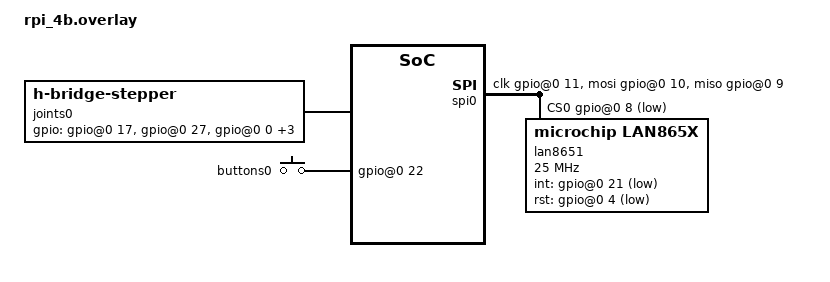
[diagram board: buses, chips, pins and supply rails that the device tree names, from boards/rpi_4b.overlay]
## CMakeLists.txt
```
# SPDX-License-Identifier: Apache-2.0

cmake_minimum_required(VERSION 3.20.0)

find_package(Zephyr REQUIRED HINTS $ENV{ZEPHYR_BASE})
project(znet_10bt1s)

target_sources(app PRIVATE src/main.c)
```

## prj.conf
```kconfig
CONFIG_MAX_XLAT_TABLES=16

# Core SPI
CONFIG_SPI=y
CONFIG_SPI_DW=y
CONFIG_SPI_DW_USE_IRQ=n
CONFIG_SPI_DW_POLLING_TIMEOUT_US=50000
CONFIG_SPI_LOG_LEVEL_ERR=y

# =========================
# Pin Controller
# =========================
CONFIG_PINCTRL=y
CONFIG_PINCTRL_RP1=y
# Logging for RP1 pinctrl
CONFIG_PINCTRL_RP1_LOG_LEVEL_DBG=y

# Ensure GPIO is enabled (required for bitbang)
CONFIG_GPIO=y

# Network stack
CONFIG_NET_ARP=y
CONFIG_NET_IPV4=y
CONFIG_NET_SOCKETS=y
CONFIG_NET_CONFIG_SETTINGS=y
CONFIG_NET_CONFIG_NEED_IPV4=y

CONFIG_NET_IF_UNICAST_IPV4_ADDR_COUNT=2
CONFIG_NET_IF_MCAST_IPV4_ADDR_COUNT=1
CONFIG_NET_CONFIG_MY_IPV4_ADDR="10.1.1.5"
CONFIG_NET_CONFIG_MY_IPV4_NETMASK="255.255.255.0"
CONFIG_NET_CONFIG_MY_IPV4_GW="0.0.0.0"
CONFIG_NET_CONFIG_INIT_TIMEOUT=5

CONFIG_NET_PKT_TX_COUNT=32
CONFIG_NET_PKT_RX_COUNT=32

CONFIG_NET_BUF_TX_COUNT=128
CONFIG_NET_BUF_RX_COUNT=128

CONFIG_NET_BUF_DATA_SIZE=640

CONFIG_NETWORKING=y
CONFIG_NET_L2_ETHERNET=y
CONFIG_NET_IPV4=y
CONFIG_NET_IPV6=n
CONFIG_NET_TCP=n
CONFIG_NET_UDP=y
CONFIG_NET_MGMT=y
CONFIG_NET_MGMT_EVENT=y
CONFIG_NET_MGMT_EVENT_INFO=y
CONFIG_ETHERNET_LOG_LEVEL_DBG=y

# TCP
CONFIG_NET_MAX_CONTEXTS=8
CONFIG_NET_MAX_CONN=8
CONFIG_ZVFS_POLL_MAX=4
CONFIG_ZVFS_OPEN_MAX=8

# LAN865x + MDIO
CONFIG_ETH_LAN865X=y
CONFIG_MDIO=y
CONFIG_MDIO_LAN865X=y
CONFIG_ETH_LAN865X_USE_IRQ=n
CONFIG_ETH_LAN865X_IRQ_THREAD_PRIO=4
CONFIG_ETH_LAN865X_IRQ_THREAD_STACK_SIZE=4096
CONFIG_ETH_LAN865X_POLL_INTERVAL_MS=1

# === Console / UART ===
CONFIG_SERIAL=y
CONFIG_CONSOLE=y
CONFIG_UART_CONSOLE=y
CONFIG_UART_INTERRUPT_DRIVEN=y

# Shell
CONFIG_SHELL=y
CONFIG_SHELL_BACKEND_SERIAL=y
CONFIG_SHELL_BACKEND_SERIAL_INIT_PRIORITY=50

# printk / log
CONFIG_PRINTK=y
CONFIG_LOG=y
CONFIG_LOG_BACKEND_UART=y
CONFIG_LOG_MODE_IMMEDIATE=y
CONFIG_LOG_DEFAULT_LEVEL=4

CONFIG_PM=y
CONFIG_PM_DEVICE=y

CONFIG_PCIE=y
CONFIG_PCIE_CONTROLLER=y
CONFIG_PCIE_MSI=y
CONFIG_PCIE_MSI_X=y
CONFIG_DYNAMIC_INTERRUPTS=y
CONFIG_PCIE_MSI_MULTI_VECTOR=y
CONFIG_PCIE_LOG_LEVEL_DBG=y

CONFIG_I2C=n
CONFIG_I2C_DW=n
CONFIG_I2C_SHELL=n
CONFIG_I2C_LOG_LEVEL_DBG=n

CONFIG_GPIO_FXL6408=n

CONFIG_KERNEL_LOG_LEVEL_INF=y
CONFIG_KERNEL_LOG_LEVEL_DBG=n
```

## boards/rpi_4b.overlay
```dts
#include <zephyr/dt-bindings/gpio/gpio.h>

/ {
	joints0: joints0 {
		compatible = "zephyr,h-bridge-stepper";

		gpios = <&{/soc/gpio@fe200000/gpio@0} 17 GPIO_ACTIVE_HIGH>,
			<&{/soc/gpio@fe200000/gpio@0} 27 GPIO_ACTIVE_HIGH>,
			<&{/soc/gpio@fe200000/gpio@0} 0 GPIO_ACTIVE_HIGH>,
			<&{/soc/gpio@fe200000/gpio@0} 5 GPIO_ACTIVE_HIGH>,
			<&{/soc/gpio@fe200000/gpio@0} 13 GPIO_ACTIVE_HIGH>,
			<&{/soc/gpio@fe200000/gpio@0} 19 GPIO_ACTIVE_HIGH>;
	};

	buttons: buttons {
		compatible = "gpio-keys";

		buttons0: buttons0 {
			gpios = <&{/soc/gpio@fe200000/gpio@0} 22 GPIO_ACTIVE_HIGH>,
				<&{/soc/gpio@fe200000/gpio@0} 6 GPIO_ACTIVE_HIGH>,
				<&{/soc/gpio@fe200000/gpio@0} 26 GPIO_ACTIVE_HIGH>;
		};
	};

	aliases {
		joints0 = &joints0;
		buttons0 = &buttons0;
	};
};

&{/soc/gpio@fe200000/gpio@0} {
	status = "okay";
};

&{/soc} {
	spi0: spi@fe204000 {
		compatible = "brcm,bcm2711-spi";
		reg = <0xfe204000 0x18>;
		status = "okay";

		#address-cells = <1>;
		#size-cells = <0>;

		clk-gpios = <&{/soc/gpio@fe200000/gpio@0} 11 GPIO_ACTIVE_HIGH>;
		mosi-gpios = <&{/soc/gpio@fe200000/gpio@0} 10 GPIO_ACTIVE_HIGH>;
		miso-gpios = <&{/soc/gpio@fe200000/gpio@0} 9 GPIO_ACTIVE_HIGH>;
		cs-gpios = <&{/soc/gpio@fe200000/gpio@0} 8 GPIO_ACTIVE_LOW>;

		lan8651: lan865x@0 {
			compatible = "microchip,lan865x";
			reg = <0>;
			spi-max-frequency = <25000000>;
			int-gpios = <&{/soc/gpio@fe200000/gpio@0} 21 GPIO_ACTIVE_LOW>;
			rst-gpios = <&{/soc/gpio@fe200000/gpio@0} 4 GPIO_ACTIVE_LOW>;

#if defined(CONFIG_ROBOTARM_SLAVE_IS_FIRST)
			local-mac-address = [aa bb cc 00 00 11];
#else
			local-mac-address = [aa bb cc 00 00 22];
#endif

			status = "okay";

			lan865x_mdio: lan865x_mdio {
				compatible = "microchip,lan865x-mdio";
				status = "okay";
				#address-cells = <1>;
				#size-cells = <0>;

				ethernet0: ethernet-phy@0 {
					compatible = "microchip,t1s-phy";
					reg = <0>;

					plca-enable;
#if defined(CONFIG_ROBOTARM_SLAVE_IS_FIRST)
					plca-node-id = <1>;
#else
					plca-node-id = <2>;
#endif
					plca-node-count = <3>;
					plca-burst-count = <0>;
					plca-burst-timer = <0x80>;
					plca-to-timer = <0x20>;

					status = "okay";
				};
			};
		};
	};
};
```

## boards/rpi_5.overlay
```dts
/* boards/rpi_5.overlay */

#include <zephyr/dt-bindings/gpio/gpio.h>
#include <zephyr/dt-bindings/pinctrl/rp1-pinctrl.h>

/ {
	chosen {
		zephyr,console = &uart10;
		zephyr,shell-uart = &uart10;
		zephyr,pcie-controller = &pcie2;
	};
};

/* -------------------------------------------------------------------------- */
/* Enable RP1 GPIO controllers                                                */
/* -------------------------------------------------------------------------- */

&gpio0_0 { status = "okay"; };
&gpio0_1 { status = "okay"; };
&gpio0_2 { status = "okay"; };

/* -------------------------------------------------------------------------- */
/* RP1 pinctrl: SPI0 pinmux                                                   */
/* -------------------------------------------------------------------------- */

&rp1_pinctrl {

	spi0_lan865x: spi0_lan865x {
		pinmux = <
			RP1_PINMUX(9,  RP1_FSEL_ALT0)  /* SPI0_SCLK */
			RP1_PINMUX(10, RP1_FSEL_ALT0)  /* SPI0_MOSI */
			RP1_PINMUX(11, RP1_FSEL_ALT0)  /* SPI0_MISO */
		>;
	};

	i2c1_default: i2c1_default {
		pinmux = <
			RP1_PINMUX(2, RP1_FSEL_ALT0)  /* I2C1_SDA */
			RP1_PINMUX(3, RP1_FSEL_ALT0)  /* I2C1_SCL */
		>;
	};
};

/* -------------------------------------------------------------------------- */
/* RP1 I2C1 + FXL6408 GPIO expander                                           */
/* -------------------------------------------------------------------------- */

&rp1_i2c1 {
    status = "disabled";
    pinctrl-0 = <&i2c1_default>;
    pinctrl-names = "default";

	clock-frequency = <100000>;

    /* fxl6408 GPIO */
	fxl6408: gpio@43 {
		compatible = "fcs,fxl6408";
		reg = <0x43>;

		gpio-controller;
		#gpio-cells = <2>;
		ngpios = <8>;

		status = "okay";
	};
};

/* -------------------------------------------------------------------------- */
/* RP1 SPI0 + LAN865x                                                         */
/* -------------------------------------------------------------------------- */

&rp1_spi0 {
	status = "okay";

	pinctrl-0 = <&spi0_lan865x>;
	pinctrl-names = "default";

	/* Chip-select as GPIO for bring-up and easy scope visibility */
	cs-gpios = <&gpio0_0 8 GPIO_ACTIVE_LOW>;

	lan865x: ethernet@0 {
		compatible = "microchip,lan865x";
		reg = <0>;

		local-mac-address = [ d0 d1 95 30 23 04 ];

		/* SPI mode 3 (CPOL=1, CPHA=1) */
		spi-cpol;
		spi-cpha;

		/* Conservative speed for initial bring-up */
		spi-max-frequency = <25000000>;

		/* LAN865x control GPIOs */
		rst-gpios = <&gpio0_0 22 GPIO_ACTIVE_LOW>;
		int-gpios = <&gpio0_0 23 GPIO_ACTIVE_LOW>;

		status = "okay";

		lan865x_mdio: lan865x-mdio {
			compatible = "microchip,lan865x-mdio";
			status = "okay";
			#address-cells = <1>;
			#size-cells = <0>;

			ethernet-phy@0 {
				compatible = "microchip,t1s-phy";
				reg = <0>;

				plca-enable;
				plca-node-id = <0>;
				plca-node-count = <8>;
				plca-burst-count = <0>;
				plca-burst-timer = <0x80>;
				plca-to-timer = <0x20>;

				status = "okay";
			};
		};
	};
};
```

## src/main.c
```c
#include <zephyr/kernel.h>
#include <zephyr/net/socket.h>
#include <zephyr/net/net_if.h>
#include <zephyr/net/net_ip.h>
#include <zephyr/device.h>
#include <zephyr/sys/printk.h>

#include <errno.h>
#include <string.h>

#define TCP_PORT        5000
#define BUF_SIZE        1024
#define MY_IPV4_ADDR    "10.1.1.5"
#define MY_IPV4_MASK    "255.255.255.0"

static uint8_t rx_buf[BUF_SIZE];

static void print_mac(struct net_if *iface)
{
    const struct net_linkaddr *ll = net_if_get_link_addr(iface);

    if (!ll || ll->len < 6) {
        printk("MAC: invalid\n");
        return;
    }

    printk("MAC: %02x:%02x:%02x:%02x:%02x:%02x\n",
           ll->addr[0], ll->addr[1], ll->addr[2],
           ll->addr[3], ll->addr[4], ll->addr[5]);
}

static int setup_ipv4_on_lan865x(void)
{
    const struct device *eth_dev;
    struct net_if *iface;
    struct net_if *found_iface = NULL;
    struct net_if_addr *ifaddr;
    struct in_addr addr;
    struct in_addr mask;
    char buf[NET_IPV4_ADDR_LEN];

    eth_dev = DEVICE_DT_GET(DT_NODELABEL(lan865x));
    if (!device_is_ready(eth_dev)) {
        printk("LAN865x device not ready\n");
        return -ENODEV;
    }

    iface = net_if_lookup_by_dev(eth_dev);
    if (iface == NULL) {
        printk("No iface found for LAN865x\n");
        return -ENODEV;
    }

    printk("LAN865x iface=%p\n", iface);
    print_mac(iface);

    if (!net_if_is_up(iface)) {
        net_if_up(iface);
    }

    while (!net_if_is_up(iface)) {
        printk("Waiting for interface up...\n");
        k_sleep(K_MSEC(200));
    }

    printk("Interface UP\n");

    if (net_addr_pton(AF_INET, MY_IPV4_ADDR, &addr) < 0) {
        printk("Invalid IPv4 address string\n");
        return -EINVAL;
    }

    if (net_addr_pton(AF_INET, MY_IPV4_MASK, &mask) < 0) {
        printk("Invalid IPv4 mask string\n");
        return -EINVAL;
    }

    ifaddr = net_if_ipv4_addr_add(iface, &addr, NET_ADDR_MANUAL, 0);
    if (ifaddr == NULL) {
        printk("IPv4 addr add failed\n");
        return -EIO;
    }

    net_if_ipv4_set_netmask_by_addr(iface, &addr, &mask);

    printk("IPv4 added: %s\n",
           net_addr_ntop(AF_INET, &addr, buf, sizeof(buf)));
    printk("Netmask set: %s\n",
           net_addr_ntop(AF_INET, &mask, buf, sizeof(buf)));

    if (!net_if_ipv4_addr_lookup(&addr, &found_iface)) {
        printk("IPv4 lookup failed\n");
        return -EIO;
    }

    printk("IPv4 lookup success, found iface=%p\n", found_iface);

    if (found_iface != iface) {
        printk("IPv4 is attached to unexpected iface!\n");
        return -EIO;
    }

    return 0;
}

int main(void)
{
    int ret;
    int listen_sock;
    int client_sock;
    struct sockaddr_in local_addr;
    struct sockaddr_in client_addr;
    socklen_t client_addr_len;
    char client_ip[NET_IPV4_ADDR_LEN];

    printk("LAN865x TCP server test\n");

    ret = setup_ipv4_on_lan865x();
    if (ret < 0) {
        printk("IPv4 setup failed: %d\n", ret);
        return 0;
    }

    listen_sock = zsock_socket(AF_INET, SOCK_STREAM, IPPROTO_TCP);
    if (listen_sock < 0) {
        printk("socket error %d\n", errno);
        return 0;
    }

    memset(&local_addr, 0, sizeof(local_addr));
    local_addr.sin_family = AF_INET;
    local_addr.sin_port = htons(TCP_PORT);
    local_addr.sin_addr.s_addr = INADDR_ANY;

    ret = zsock_bind(listen_sock,
                     (struct sockaddr *)&local_addr,
                     sizeof(local_addr));
    if (ret < 0) {
        printk("bind failed %d\n", errno);
        zsock_close(listen_sock);
        return 0;
    }

    ret = zsock_listen(listen_sock, 1);
    if (ret < 0) {
        printk("listen failed %d\n", errno);
        zsock_close(listen_sock);
        return 0;
    }

    printk("TCP server listening on port %d\n", TCP_PORT);

    while (1) {
        client_addr_len = sizeof(client_addr);

        client_sock = zsock_accept(listen_sock,
                                   (struct sockaddr *)&client_addr,
                                   &client_addr_len);
        if (client_sock < 0) {
            printk("accept failed %d\n", errno);
            continue;
        }

        net_addr_ntop(AF_INET, &client_addr.sin_addr,
                      client_ip, sizeof(client_ip));
        printk("Client connected from %s:%d\n",
               client_ip, ntohs(client_addr.sin_port));

        while (1) {
            int len = zsock_recv(client_sock, rx_buf, sizeof(rx_buf) - 1, 0);

            if (len < 0) {
                printk("recv failed %d\n", errno);
                break;
            }

            if (len == 0) {
                printk("Client disconnected\n");
                break;
            }

            rx_buf[len] = '\0';
            printk("Received %d bytes: %s\n", len, rx_buf);

            ret = zsock_send(client_sock, rx_buf, len, 0);
            if (ret < 0) {
                printk("send failed %d\n", errno);
                break;
            }
        }

        zsock_close(client_sock);
    }

    return 0;
}
```

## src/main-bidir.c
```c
#include <zephyr/kernel.h>
#include <zephyr/net/socket.h>
#include <zephyr/net/net_if.h>
#include <zephyr/net/net_ip.h>
#include <zephyr/device.h>
#include <zephyr/sys/printk.h>

#include <errno.h>
#include <string.h>
#include <stdbool.h>
#include <stdint.h>
#include <fcntl.h>

#define UDP_PORT         5000
#define BUF_SIZE         1600

/* RPi5 (Zephyr) IP */
#define MY_IPV4_ADDR     "10.1.1.9"
#define MY_IPV4_MASK     "255.255.255.0"

/* RPi4 (Linux) IP */
#define PEER_IPV4_ADDR   "10.1.1.10"

/*
 * 목표 TX rate (payload 기준)
 * 필요에 따라 여기만 바꾸면 됨
 */
#define TARGET_TX_MBPS   9

/*
 * pacing 주기 (ms)
 */
#define TX_TICK_MS       10

static uint8_t rx_buf[BUF_SIZE];
static uint8_t tx_buf[BUF_SIZE];

struct bw_stats {
	uint64_t tx_bytes_total;
	uint64_t rx_bytes_total;
	uint32_t tx_pkts_total;
	uint32_t rx_pkts_total;

	uint64_t tx_bytes_interval;
	uint64_t rx_bytes_interval;
	uint32_t tx_pkts_interval;
	uint32_t rx_pkts_interval;

	uint32_t tx_eagain_interval;
	uint32_t rx_eagain_interval;
};

static struct bw_stats g_stats;
static bool g_first_tx = true;
static bool g_first_rx = true;

/* 최근 RX payload 길이 */
static size_t g_last_rx_len = 0U;
/* 최근 RX가 있었는지 */
static bool g_have_rx_sample = false;

static void print_mac(struct net_if *iface)
{
	const struct net_linkaddr *ll = net_if_get_link_addr(iface);

	if (!ll || ll->len < 6) {
		printk("MAC: invalid\n");
		return;
	}

	printk("MAC: %02x:%02x:%02x:%02x:%02x:%02x\n",
	       ll->addr[0], ll->addr[1], ll->addr[2],
	       ll->addr[3], ll->addr[4], ll->addr[5]);
}

static int setup_ipv4_on_lan865x(void)
{
	const struct device *eth_dev;
	struct net_if *iface;
	struct net_if *found_iface = NULL;
	struct net_if_addr *ifaddr;
	struct in_addr addr;
	struct in_addr mask;
	char buf[NET_IPV4_ADDR_LEN];

	eth_dev = DEVICE_DT_GET(DT_NODELABEL(lan865x));
	if (!device_is_ready(eth_dev)) {
		printk("LAN865x device not ready\n");
		return -ENODEV;
	}

	iface = net_if_lookup_by_dev(eth_dev);
	if (iface == NULL) {
		printk("No iface found for LAN865x\n");
		return -ENODEV;
	}

	printk("LAN865x iface=%p\n", iface);
	print_mac(iface);

	if (!net_if_is_up(iface)) {
		net_if_up(iface);
	}

	while (!net_if_is_up(iface)) {
		printk("Waiting for interface up...\n");
		k_sleep(K_MSEC(200));
	}

	printk("Interface UP\n");

	if (net_addr_pton(AF_INET, MY_IPV4_ADDR, &addr) < 0) {
		printk("Invalid IPv4 address string\n");
		return -EINVAL;
	}

	if (net_addr_pton(AF_INET, MY_IPV4_MASK, &mask) < 0) {
		printk("Invalid IPv4 mask string\n");
		return -EINVAL;
	}

	ifaddr = net_if_ipv4_addr_add(iface, &addr, NET_ADDR_MANUAL, 0);
	if (ifaddr == NULL) {
		printk("IPv4 addr add failed\n");
		return -EIO;
	}

	net_if_ipv4_set_netmask_by_addr(iface, &addr, &mask);

	printk("IPv4 added: %s\n",
	       net_addr_ntop(AF_INET, &addr, buf, sizeof(buf)));
	printk("Netmask set: %s\n",
	       net_addr_ntop(AF_INET, &mask, buf, sizeof(buf)));

	if (!net_if_ipv4_addr_lookup(&addr, &found_iface)) {
		printk("IPv4 lookup failed\n");
		return -EIO;
	}

	printk("IPv4 lookup success, found iface=%p\n", found_iface);

	if (found_iface != iface) {
		printk("IPv4 is attached to unexpected iface!\n");
		return -EIO;
	}

	return 0;
}

static void stats_print_and_reset_interval(uint32_t interval_ms)
{
	double tx_mbps = 0.0;
	double rx_mbps = 0.0;

	if (interval_ms > 0U) {
		tx_mbps = (g_stats.tx_bytes_interval * 8.0 * 1000.0) /
			  ((double)interval_ms * 1000000.0);
		rx_mbps = (g_stats.rx_bytes_interval * 8.0 * 1000.0) /
			  ((double)interval_ms * 1000000.0);
	}

	printk("TX %6.2f Mbps pkts=%5u bytes=%9llu eagain=%4u | "
	       "RX %6.2f Mbps pkts=%5u bytes=%9llu eagain=%4u | "
	       "last_rx_len=%u\n",
	       tx_mbps,
	       g_stats.tx_pkts_interval,
	       g_stats.tx_bytes_interval,
	       g_stats.tx_eagain_interval,
	       rx_mbps,
	       g_stats.rx_pkts_interval,
	       g_stats.rx_bytes_interval,
	       g_stats.rx_eagain_interval,
	       (unsigned int)g_last_rx_len);

	g_stats.tx_bytes_interval = 0;
	g_stats.rx_bytes_interval = 0;
	g_stats.tx_pkts_interval = 0;
	g_stats.rx_pkts_interval = 0;
	g_stats.tx_eagain_interval = 0;
	g_stats.rx_eagain_interval = 0;
}

int main(void)
{
	int ret;
	int sock;
	int flags;
	int len;
	int64_t last_print_time;
	int64_t last_tx_tick;
	struct sockaddr_in local_addr;
	struct sockaddr_in peer_addr;
	struct sockaddr_in src_addr;
	struct in_addr peer_ip;
	socklen_t src_addr_len;

	uint64_t tx_credit_bytes = 0;
	const uint64_t target_tx_bytes_per_sec =
		((uint64_t)TARGET_TX_MBPS * 1000000ULL) / 8ULL;

	printk("LAN865x UDP bidirectional bandwidth test\n");
	printk("Mode: continuous RX/TX, TX payload follows last RX length\n");
	printk("Target TX %d Mbps\n", TARGET_TX_MBPS);

	ret = setup_ipv4_on_lan865x();
	if (ret < 0) {
		printk("IPv4 setup failed: %d\n", ret);
		return 0;
	}

	memset(&g_stats, 0, sizeof(g_stats));
	memset(tx_buf, 0xA5, sizeof(tx_buf));

	sock = zsock_socket(AF_INET, SOCK_DGRAM, IPPROTO_UDP);
	if (sock < 0) {
		printk("socket error %d\n", errno);
		return 0;
	}

	flags = zsock_fcntl(sock, F_GETFL, 0);
	if (flags < 0) {
		printk("fcntl(F_GETFL) failed %d\n", errno);
		zsock_close(sock);
		return 0;
	}

	ret = zsock_fcntl(sock, F_SETFL, flags | O_NONBLOCK);
	if (ret < 0) {
		printk("fcntl(F_SETFL) failed %d\n", errno);
		zsock_close(sock);
		return 0;
	}

	printk("Socket set to non-blocking mode\n");

	memset(&local_addr, 0, sizeof(local_addr));
	local_addr.sin_family = AF_INET;
	local_addr.sin_port = htons(UDP_PORT);

	ret = net_addr_pton(AF_INET, MY_IPV4_ADDR, &local_addr.sin_addr);
	if (ret < 0) {
		printk("Invalid local IPv4 address string\n");
		zsock_close(sock);
		return 0;
	}

	ret = zsock_bind(sock, (struct sockaddr *)&local_addr, sizeof(local_addr));
	if (ret < 0) {
		printk("bind error %d\n", errno);
		zsock_close(sock);
		return 0;
	}

	memset(&peer_addr, 0, sizeof(peer_addr));
	peer_addr.sin_family = AF_INET;
	peer_addr.sin_port = htons(UDP_PORT);

	if (net_addr_pton(AF_INET, PEER_IPV4_ADDR, &peer_ip) < 0) {
		printk("Invalid peer IPv4 address string\n");
		zsock_close(sock);
		return 0;
	}

	peer_addr.sin_addr = peer_ip;

	printk("Local  %s:%d\n", MY_IPV4_ADDR, UDP_PORT);
	printk("Peer   %s:%d\n", PEER_IPV4_ADDR, UDP_PORT);

	last_print_time = k_uptime_get();
	last_tx_tick = last_print_time;

	while (1) {
		int64_t now = k_uptime_get();

		/* ===== RX drain ===== */
		while (1) {
			src_addr_len = sizeof(src_addr);
			len = zsock_recvfrom(sock,
					     rx_buf,
					     sizeof(rx_buf),
					     0,
					     (struct sockaddr *)&src_addr,
					     &src_addr_len);

			if (len < 0) {
				if (errno == EAGAIN || errno == EWOULDBLOCK) {
					g_stats.rx_eagain_interval++;
					break;
				}

				printk("recvfrom error %d\n", errno);
				break;
			}

			if (g_first_rx) {
				char addrbuf[NET_IPV4_ADDR_LEN];

				printk("First RX packet from %s:%d len=%d\n",
				       net_addr_ntop(AF_INET,
						     &src_addr.sin_addr,
						     addrbuf,
						     sizeof(addrbuf)),
				       ntohs(src_addr.sin_port),
				       len);
				g_first_rx = false;
			}

			g_stats.rx_pkts_total++;
			g_stats.rx_bytes_total += len;
			g_stats.rx_pkts_interval++;
			g_stats.rx_bytes_interval += len;

			/* 최근 RX 길이와 데이터를 TX용으로 저장 */
			g_last_rx_len = (size_t)len;
			memcpy(tx_buf, rx_buf, len);
			g_have_rx_sample = true;
		}

		/* ===== TX pacing ===== */
		if (g_have_rx_sample && g_last_rx_len > 0U &&
		    ((now - last_tx_tick) >= TX_TICK_MS)) {
			int64_t delta_ms = now - last_tx_tick;

			tx_credit_bytes +=
				(target_tx_bytes_per_sec * (uint64_t)delta_ms) / 1000ULL;

			last_tx_tick = now;

			while (tx_credit_bytes >= g_last_rx_len) {
				len = zsock_sendto(sock,
						   tx_buf,
						   g_last_rx_len,
						   0,
						   (struct sockaddr *)&peer_addr,
						   sizeof(peer_addr));

				if (len < 0) {
					if (errno == EAGAIN || errno == EWOULDBLOCK) {
						g_stats.tx_eagain_interval++;
						break;
					}

					printk("sendto error %d\n", errno);
					break;
				}

				if (g_first_tx) {
					printk("First TX packet sent to %s:%d len=%d\n",
					       PEER_IPV4_ADDR, UDP_PORT, len);
					g_first_tx = false;
				}

				g_stats.tx_pkts_total++;
				g_stats.tx_bytes_total += len;
				g_stats.tx_pkts_interval++;
				g_stats.tx_bytes_interval += len;

				tx_credit_bytes -= g_last_rx_len;
			}
		}

		/* ===== interval 통계 출력 ===== */
		if ((now - last_print_time) >= 1000) {
			uint32_t interval_ms = (uint32_t)(now - last_print_time);

			stats_print_and_reset_interval(interval_ms);
			last_print_time = now;
		}

		k_sleep(K_MSEC(1));
	}

	zsock_close(sock);
	return 0;
}
```

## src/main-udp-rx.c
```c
#include <zephyr/kernel.h>
#include <zephyr/net/socket.h>
#include <zephyr/net/net_if.h>
#include <zephyr/net/net_ip.h>
#include <zephyr/device.h>
#include <zephyr/sys/printk.h>

#include <errno.h>
#include <string.h>
#include <stdbool.h>
#include <fcntl.h>

#define UDP_PORT        5000
#define BUF_SIZE        1600
#define MY_IPV4_ADDR    "10.1.1.5"
#define MY_IPV4_MASK    "255.255.255.0"

static uint8_t rx_buf[BUF_SIZE];

static void print_mac(struct net_if *iface)
{
    const struct net_linkaddr *ll = net_if_get_link_addr(iface);

    if (!ll || ll->len < 6) {
        printk("MAC: invalid\n");
        return;
    }

    printk("MAC: %02x:%02x:%02x:%02x:%02x:%02x\n",
           ll->addr[0], ll->addr[1], ll->addr[2],
           ll->addr[3], ll->addr[4], ll->addr[5]);
}

static int setup_ipv4_on_lan865x(void)
{
    const struct device *eth_dev;
    struct net_if *iface;
    struct net_if *found_iface = NULL;
    struct net_if_addr *ifaddr;
    struct in_addr addr;
    struct in_addr mask;
    char buf[NET_IPV4_ADDR_LEN];

    eth_dev = DEVICE_DT_GET(DT_NODELABEL(lan865x));
    if (!device_is_ready(eth_dev)) {
        printk("LAN865x device not ready\n");
        return -ENODEV;
    }

    iface = net_if_lookup_by_dev(eth_dev);
    if (iface == NULL) {
        printk("No iface found for LAN865x\n");
        return -ENODEV;
    }

    printk("LAN865x iface=%p\n", iface);
    print_mac(iface);

    if (!net_if_is_up(iface)) {
        net_if_up(iface);
    }

    while (!net_if_is_up(iface)) {
        printk("Waiting for interface up...\n");
        k_sleep(K_MSEC(200));
    }

    printk("Interface UP\n");

    if (net_addr_pton(AF_INET, MY_IPV4_ADDR, &addr) < 0) {
        printk("Invalid IPv4 address string\n");
        return -EINVAL;
    }

    if (net_addr_pton(AF_INET, MY_IPV4_MASK, &mask) < 0) {
        printk("Invalid IPv4 mask string\n");
        return -EINVAL;
    }

    ifaddr = net_if_ipv4_addr_add(iface, &addr, NET_ADDR_MANUAL, 0);
    if (ifaddr == NULL) {
        printk("IPv4 addr add failed\n");
        return -EIO;
    }

    net_if_ipv4_set_netmask_by_addr(iface, &addr, &mask);

    printk("IPv4 added: %s\n",
           net_addr_ntop(AF_INET, &addr, buf, sizeof(buf)));
    printk("Netmask set: %s\n",
           net_addr_ntop(AF_INET, &mask, buf, sizeof(buf)));

    if (!net_if_ipv4_addr_lookup(&addr, &found_iface)) {
        printk("IPv4 lookup failed\n");
        return -EIO;
    }

    printk("IPv4 lookup success, found iface=%p\n", found_iface);

    if (found_iface != iface) {
        printk("IPv4 is attached to unexpected iface!\n");
        return -EIO;
    }

    return 0;
}

int main(void)
{
    int ret;
    int sock;
    int flags;
    int len;
    int64_t last_time;
    uint64_t bytes = 0;
    uint32_t packets = 0;
    struct sockaddr_in local_addr;
    struct sockaddr_in src_addr;
    socklen_t src_len;
    bool first_packet = true;

    printk("LAN865x UDP RX bandwidth test\n");

    ret = setup_ipv4_on_lan865x();
    if (ret < 0) {
        printk("IPv4 setup failed: %d\n", ret);
        return 0;
    }

    sock = zsock_socket(AF_INET, SOCK_DGRAM, IPPROTO_UDP);
    if (sock < 0) {
        printk("socket error %d\n", errno);
        return 0;
    }

    flags = zsock_fcntl(sock, F_GETFL, 0);
    if (flags < 0) {
        printk("fcntl(F_GETFL) failed %d\n", errno);
        zsock_close(sock);
        return 0;
    }

    ret = zsock_fcntl(sock, F_SETFL, flags | O_NONBLOCK);
    if (ret < 0) {
        printk("fcntl(F_SETFL) failed %d\n", errno);
        zsock_close(sock);
        return 0;
    }

    printk("Socket set to non-blocking mode\n");

    memset(&local_addr, 0, sizeof(local_addr));
    local_addr.sin_family = AF_INET;
    local_addr.sin_port = htons(UDP_PORT);
    local_addr.sin_addr.s_addr = INADDR_ANY;

    ret = zsock_bind(sock, (struct sockaddr *)&local_addr, sizeof(local_addr));
    if (ret < 0) {
        printk("bind failed %d\n", errno);
        zsock_close(sock);
        return 0;
    }

    printk("UDP RX listening on port %d\n", UDP_PORT);

    last_time = k_uptime_get();

    while (1) {
        src_len = sizeof(src_addr);

        len = zsock_recvfrom(sock,
                             rx_buf,
                             sizeof(rx_buf),
                             0,
                             (struct sockaddr *)&src_addr,
                             &src_len);

        if (len < 0) {
            if (errno == EAGAIN || errno == EWOULDBLOCK) {
                int64_t now = k_uptime_get();

                if (now - last_time >= 1000) {
                    double mbps = (bytes * 8.0) / 1000000.0;

                    printk("RX rate %.2f Mbps packets=%u bytes=%llu\n",
                           mbps, packets, bytes);

                    bytes = 0;
                    packets = 0;
                    last_time = now;
                }

                k_sleep(K_MSEC(10));
                continue;
            }

            printk("recv error %d\n", errno);
            k_sleep(K_MSEC(10));
            continue;
        }

        if (first_packet) {
            char src_ip[NET_IPV4_ADDR_LEN];

            net_addr_ntop(AF_INET, &src_addr.sin_addr, src_ip, sizeof(src_ip));
            printk("First packet from %s:%d len=%d\n",
                   src_ip, ntohs(src_addr.sin_port), len);

            first_packet = false;
        }

        packets++;
        bytes += len;

        {
            int64_t now = k_uptime_get();

            if (now - last_time >= 1000) {
                double mbps = (bytes * 8.0) / 1000000.0;

                printk("RX rate %.2f Mbps packets=%u bytes=%llu\n",
                       mbps, packets, bytes);

                bytes = 0;
                packets = 0;
                last_time = now;
            }
        }
    }

    return 0;
}
```

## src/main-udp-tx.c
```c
#include <zephyr/kernel.h>
#include <zephyr/net/socket.h>
#include <zephyr/net/net_if.h>
#include <zephyr/net/net_ip.h>
#include <zephyr/device.h>
#include <zephyr/sys/printk.h>

#include <errno.h>
#include <string.h>
#include <stdbool.h>
#include <fcntl.h>

#define UDP_PORT         5000
#define BUF_SIZE         1600
#define TX_SIZE          1472

#define MY_IPV4_ADDR     "10.1.1.5"
#define MY_IPV4_MASK     "255.255.255.0"
#define PEER_IPV4_ADDR   "10.1.1.10"

static uint8_t tx_buf[BUF_SIZE];

static void print_mac(struct net_if *iface)
{
    const struct net_linkaddr *ll = net_if_get_link_addr(iface);

    if (!ll || ll->len < 6) {
        printk("MAC: invalid\n");
        return;
    }

    printk("MAC: %02x:%02x:%02x:%02x:%02x:%02x\n",
           ll->addr[0], ll->addr[1], ll->addr[2],
           ll->addr[3], ll->addr[4], ll->addr[5]);
}

static int setup_ipv4_on_lan865x(void)
{
    const struct device *eth_dev;
    struct net_if *iface;
    struct net_if *found_iface = NULL;
    struct net_if_addr *ifaddr;
    struct in_addr addr;
    struct in_addr mask;
    char buf[NET_IPV4_ADDR_LEN];

    eth_dev = DEVICE_DT_GET(DT_NODELABEL(lan865x));
    if (!device_is_ready(eth_dev)) {
        printk("LAN865x device not ready\n");
        return -ENODEV;
    }

    iface = net_if_lookup_by_dev(eth_dev);
    if (iface == NULL) {
        printk("No iface found for LAN865x\n");
        return -ENODEV;
    }

    printk("LAN865x iface=%p\n", iface);
    print_mac(iface);

    if (!net_if_is_up(iface)) {
        net_if_up(iface);
    }

    while (!net_if_is_up(iface)) {
        printk("Waiting for interface up...\n");
        k_sleep(K_MSEC(200));
    }

    printk("Interface UP\n");

    if (net_addr_pton(AF_INET, MY_IPV4_ADDR, &addr) < 0) {
        printk("Invalid IPv4 address string\n");
        return -EINVAL;
    }

    if (net_addr_pton(AF_INET, MY_IPV4_MASK, &mask) < 0) {
        printk("Invalid IPv4 mask string\n");
        return -EINVAL;
    }

    ifaddr = net_if_ipv4_addr_add(iface, &addr, NET_ADDR_MANUAL, 0);
    if (ifaddr == NULL) {
        printk("IPv4 addr add failed\n");
        return -EIO;
    }

    net_if_ipv4_set_netmask_by_addr(iface, &addr, &mask);

    printk("IPv4 added: %s\n",
           net_addr_ntop(AF_INET, &addr, buf, sizeof(buf)));
    printk("Netmask set: %s\n",
           net_addr_ntop(AF_INET, &mask, buf, sizeof(buf)));

    if (!net_if_ipv4_addr_lookup(&addr, &found_iface)) {
        printk("IPv4 lookup failed\n");
        return -EIO;
    }

    printk("IPv4 lookup success, found iface=%p\n", found_iface);

    if (found_iface != iface) {
        printk("IPv4 is attached to unexpected iface!\n");
        return -EIO;
    }

    return 0;
}

int main(void)
{
    int ret;
    int sock;
    int flags;
    int len;
    int64_t last_time;
    uint64_t bytes = 0;
    uint32_t packets = 0;
    uint32_t eagain_cnt = 0;
    bool first_send = true;
    struct sockaddr_in peer_addr;
    struct in_addr peer_ip;

    printk("LAN865x UDP TX bandwidth test\n");

    ret = setup_ipv4_on_lan865x();
    if (ret < 0) {
        printk("IPv4 setup failed: %d\n", ret);
        return 0;
    }

    memset(tx_buf, 0xA5, TX_SIZE);

    sock = zsock_socket(AF_INET, SOCK_DGRAM, IPPROTO_UDP);
    if (sock < 0) {
        printk("socket error %d\n", errno);
        return 0;
    }

    flags = zsock_fcntl(sock, F_GETFL, 0);
    if (flags < 0) {
        printk("fcntl(F_GETFL) failed %d\n", errno);
        zsock_close(sock);
        return 0;
    }

    ret = zsock_fcntl(sock, F_SETFL, flags | O_NONBLOCK);
    if (ret < 0) {
        printk("fcntl(F_SETFL) failed %d\n", errno);
        zsock_close(sock);
        return 0;
    }

    printk("Socket set to non-blocking mode\n");

    memset(&peer_addr, 0, sizeof(peer_addr));
    peer_addr.sin_family = AF_INET;
    peer_addr.sin_port = htons(UDP_PORT);

    if (net_addr_pton(AF_INET, PEER_IPV4_ADDR, &peer_ip) < 0) {
        printk("Invalid peer IPv4 address string\n");
        zsock_close(sock);
        return 0;
    }

    peer_addr.sin_addr = peer_ip;

    printk("UDP TX target %s:%d payload=%d bytes\n",
           PEER_IPV4_ADDR, UDP_PORT, TX_SIZE);

    last_time = k_uptime_get();

    while (1) {
        len = zsock_sendto(sock,
                           tx_buf,
                           TX_SIZE,
                           0,
                           (struct sockaddr *)&peer_addr,
                           sizeof(peer_addr));

        if (len < 0) {
            if (errno == EAGAIN || errno == EWOULDBLOCK) {
                eagain_cnt++;

                {
                    int64_t now = k_uptime_get();

                    if (now - last_time >= 1000) {
                        double mbps = (bytes * 8.0) / 1000000.0;

                        printk("TX rate %.2f Mbps packets=%u bytes=%llu eagain=%u\n",
                               mbps, packets, bytes, eagain_cnt);

                        bytes = 0;
                        packets = 0;
                        eagain_cnt = 0;
                        last_time = now;
                    }
                }

                k_sleep(K_MSEC(1));
                continue;
            }

            printk("sendto error %d\n", errno);
            k_sleep(K_MSEC(10));
            continue;
        }

        if (first_send) {
            printk("First packet sent to %s:%d len=%d\n",
                   PEER_IPV4_ADDR, UDP_PORT, len);
            first_send = false;
        }

        packets++;
        bytes += len;

        {
            int64_t now = k_uptime_get();

            if (now - last_time >= 1000) {
                double mbps = (bytes * 8.0) / 1000000.0;

                printk("TX rate %.2f Mbps packets=%u bytes=%llu eagain=%u\n",
                       mbps, packets, bytes, eagain_cnt);

                bytes = 0;
                packets = 0;
                eagain_cnt = 0;
                last_time = now;
            }
        }
    }

    zsock_close(sock);
    return 0;
}
```

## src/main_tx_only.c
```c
#include <zephyr/kernel.h>
#include <zephyr/net/socket.h>
#include <zephyr/net/net_if.h>
#include <zephyr/net/net_ip.h>
#include <zephyr/device.h>
#include <zephyr/sys/printk.h>

#include <errno.h>
#include <string.h>
#include <stdbool.h>
#include <fcntl.h>

#define UDP_PORT         5000
#define BUF_SIZE         1600
#define TX_SIZE          1472

#define MY_IPV4_ADDR     "10.1.1.5"
#define MY_IPV4_MASK     "255.255.255.0"
#define PEER_IPV4_ADDR   "10.1.1.10"

static uint8_t tx_buf[BUF_SIZE];

static void print_mac(struct net_if *iface)
{
    const struct net_linkaddr *ll = net_if_get_link_addr(iface);

    if (!ll || ll->len < 6) {
        printk("MAC: invalid\n");
        return;
    }

    printk("MAC: %02x:%02x:%02x:%02x:%02x:%02x\n",
           ll->addr[0], ll->addr[1], ll->addr[2],
           ll->addr[3], ll->addr[4], ll->addr[5]);
}

static int setup_ipv4_on_lan865x(void)
{
    const struct device *eth_dev;
    struct net_if *iface;
    struct net_if *found_iface = NULL;
    struct net_if_addr *ifaddr;
    struct in_addr addr;
    struct in_addr mask;
    char buf[NET_IPV4_ADDR_LEN];

    eth_dev = DEVICE_DT_GET(DT_NODELABEL(lan865x));
    if (!device_is_ready(eth_dev)) {
        printk("LAN865x device not ready\n");
        return -ENODEV;
    }

    iface = net_if_lookup_by_dev(eth_dev);
    if (iface == NULL) {
        printk("No iface found for LAN865x\n");
        return -ENODEV;
    }

    printk("LAN865x iface=%p\n", iface);
    print_mac(iface);

    if (!net_if_is_up(iface)) {
        net_if_up(iface);
    }

    while (!net_if_is_up(iface)) {
        printk("Waiting for interface up...\n");
        k_sleep(K_MSEC(200));
    }

    printk("Interface UP\n");

    if (net_addr_pton(AF_INET, MY_IPV4_ADDR, &addr) < 0) {
        printk("Invalid IPv4 address string\n");
        return -EINVAL;
    }

    if (net_addr_pton(AF_INET, MY_IPV4_MASK, &mask) < 0) {
        printk("Invalid IPv4 mask string\n");
        return -EINVAL;
    }

    ifaddr = net_if_ipv4_addr_add(iface, &addr, NET_ADDR_MANUAL, 0);
    if (ifaddr == NULL) {
        printk("IPv4 addr add failed\n");
        return -EIO;
    }

    net_if_ipv4_set_netmask_by_addr(iface, &addr, &mask);

    printk("IPv4 added: %s\n",
           net_addr_ntop(AF_INET, &addr, buf, sizeof(buf)));
    printk("Netmask set: %s\n",
           net_addr_ntop(AF_INET, &mask, buf, sizeof(buf)));

    if (!net_if_ipv4_addr_lookup(&addr, &found_iface)) {
        printk("IPv4 lookup failed\n");
        return -EIO;
    }

    printk("IPv4 lookup success, found iface=%p\n", found_iface);

    if (found_iface != iface) {
        printk("IPv4 is attached to unexpected iface!\n");
        return -EIO;
    }

    return 0;
}

int main(void)
{
    int ret;
    int sock;
    int flags;
    int len;
    int64_t last_time;
    uint64_t bytes = 0;
    uint32_t packets = 0;
    uint32_t eagain_cnt = 0;
    bool first_send = true;
    struct sockaddr_in peer_addr;
    struct in_addr peer_ip;

    printk("LAN865x UDP TX bandwidth test\n");

    ret = setup_ipv4_on_lan865x();
    if (ret < 0) {
        printk("IPv4 setup failed: %d\n", ret);
        return 0;
    }

    memset(tx_buf, 0xA5, TX_SIZE);

    sock = zsock_socket(AF_INET, SOCK_DGRAM, IPPROTO_UDP);
    if (sock < 0) {
        printk("socket error %d\n", errno);
        return 0;
    }

    flags = zsock_fcntl(sock, F_GETFL, 0);
    if (flags < 0) {
        printk("fcntl(F_GETFL) failed %d\n", errno);
        zsock_close(sock);
        return 0;
    }

    ret = zsock_fcntl(sock, F_SETFL, flags | O_NONBLOCK);
    if (ret < 0) {
        printk("fcntl(F_SETFL) failed %d\n", errno);
        zsock_close(sock);
        return 0;
    }

    printk("Socket set to non-blocking mode\n");

    memset(&peer_addr, 0, sizeof(peer_addr));
    peer_addr.sin_family = AF_INET;
    peer_addr.sin_port = htons(UDP_PORT);

    if (net_addr_pton(AF_INET, PEER_IPV4_ADDR, &peer_ip) < 0) {
        printk("Invalid peer IPv4 address string\n");
        zsock_close(sock);
        return 0;
    }

    peer_addr.sin_addr = peer_ip;

    printk("UDP TX target %s:%d payload=%d bytes\n",
           PEER_IPV4_ADDR, UDP_PORT, TX_SIZE);

    last_time = k_uptime_get();

    while (1) {
        len = zsock_sendto(sock,
                           tx_buf,
                           TX_SIZE,
                           0,
                           (struct sockaddr *)&peer_addr,
                           sizeof(peer_addr));

        if (len < 0) {
            if (errno == EAGAIN || errno == EWOULDBLOCK) {
                eagain_cnt++;

                {
                    int64_t now = k_uptime_get();

                    if (now - last_time >= 1000) {
                        double mbps = (bytes * 8.0) / 1000000.0;

                        printk("TX rate %.2f Mbps packets=%u bytes=%llu eagain=%u\n",
                               mbps, packets, bytes, eagain_cnt);

                        bytes = 0;
                        packets = 0;
                        eagain_cnt = 0;
                        last_time = now;
                    }
                }

                // k_sleep(K_MSEC(1));
                continue;
            }

            printk("sendto error %d\n", errno);
            k_sleep(K_MSEC(10));
            continue;
        }

        if (first_send) {
            printk("First packet sent to %s:%d len=%d\n",
                   PEER_IPV4_ADDR, UDP_PORT, len);
            first_send = false;
        }

        packets++;
        bytes += len;

        {
            int64_t now = k_uptime_get();

            if (now - last_time >= 1000) {
                double mbps = (bytes * 8.0) / 1000000.0;

                printk("TX rate %.2f Mbps packets=%u bytes=%llu eagain=%u\n",
                       mbps, packets, bytes, eagain_cnt);

                bytes = 0;
                packets = 0;
                eagain_cnt = 0;
                last_time = now;
            }
        }
    }

    zsock_close(sock);
    return 0;
}
```
